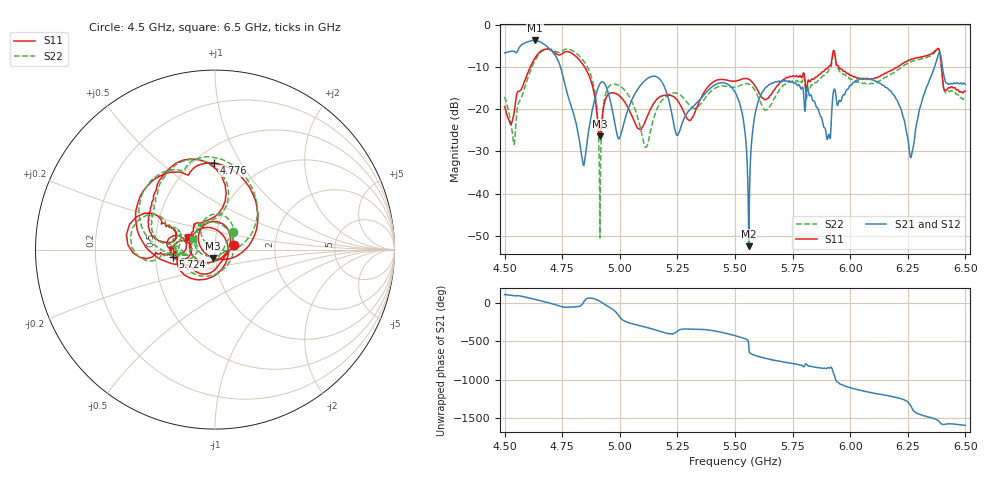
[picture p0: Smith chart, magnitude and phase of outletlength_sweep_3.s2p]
! TOUCHSTONE file generated by CST MICROWAVE STUDIO
! Date and time: Fri Nov 29 14:48:29 2024
! Project name: dual_circularly_polarized_waveguide_antenna.cst
! Parameters = {airCoaxOuterDiameter=3; chamferAngle=45; chamferWidth=24; connectorLength=10; drillingHoleDiameter=4.1; feedLength=60; flareDiameter=130; flareLength=70; gratingDistance=0; gratingGap=1.90274; outletLength=75; polarizerLength=134; probe1Diameter=1.3; probe1Distance=14.068; probe1Leng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
! Header version: 2018
! Port assignment regex: !\s*Touchstone port\s*([0-9]+)\s*=\s*(CST MWS port|CST DS port)\s*([0-9]+|Zmin|Zmax)\s*\(\"(.*)\"\)(\s*mode\s*([0-9]+))?.*
! Touchstone port assignment:
! Touchstone port 1 = CST MWS port 1 ("Input1")
! Touchstone port 2 = CST MWS port 2 ("Input2")
# GHz S MA R 50
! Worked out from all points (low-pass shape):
!   1001 points, 4.5 GHz to 6.5 GHz, reference 50 ohm
!   highest |S21| = -3.66 dB at 4.632 GHz (marker M1); lowest = -52.5 dB at 5.56 GHz (marker M2)
!   |S21| within 3 dB of the highest: start of sweep to 4.712 GHz; 6.38551 GHz to 6.389121 GHz (3.611 MHz wide, 0.0565 % of centre)
!   lowest |S11| = -26.4 dB at 4.912 GHz (marker M3), VSWR 1.10, Z = 48.5 - j4.49 ohm
!   |S11| at or under -10 dB: start of sweep to 4.611 GHz; 4.848 GHz to 5.906 GHz (1.058 GHz wide, 19.7 % of centre); 5.951 GHz to 6.203 GHz (252.4 MHz wide, 4.15 % of centre)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
!   |S22| runs from -50.6 to -5.6 dB; largest |S21 - S12| = 4.4e-06
!   S11 on the Smith chart (normalised r, x): 4.5 GHz: 1.23, +0.06; 4.776 GHz: 0.61, +0.77; 5.724 GHz: 0.62, -0.05; 6.5 GHz: 0.74, +0.11
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4.5  0.1075 13.5  0.467 107.5  0.467 107.5  0.1405 45.6
4.54  0.0866 -75.4  0.4873 92.6  0.4873 92.6  0.03804 -22.7
4.632  0.406 173.8  0.6561 45.3  0.6561 45.3  0.3802 169.9
4.776  0.4826 91.0  0.1408 -56.7  0.1408 -56.7  0.5187 94.1
4.834  0.359 51.6  0.02834 -28.1  0.02834 -28.1  0.4019 59.1
4.912  0.04794 -105.8  0.1971 22.7  0.1971 22.7  0.01344 -13.9
4.958  0.1552 102.8  0.1288 -63.7  0.1288 -63.7  0.1925 98.2
4.998  0.1444 67.9  0.04513 -177.2  0.04513 -177.2  0.1907 70.5
5.112  0.07373 -106.5  0.2232 44.2  0.2232 44.2  0.03542 -69.3
5.168  0.1366 -176.7  0.2356 -4.2  0.2356 -4.2  0.1096 172.2
5.25  0.1282 105.6  0.04898 -8.0  0.04898 -8.0  0.1549 96.2
5.5  0.2155 -168.7  0.1597 -65.2  0.1597 -65.2  0.1819 -169.4
5.56  0.2265 173.9  0.002371 141.6  0.002371 141.6  0.1986 170.9
5.606  0.1542 165.6  0.135 19.0  0.135 19.0  0.1295 157.5
5.724  0.2383 -170.3  0.2153 -54.7  0.2153 -54.7  0.2063 -168.8
5.834  0.2288 -176.4  0.1367 -109.9  0.1367 -109.9  0.1967 -175.6
5.904  0.3103 -175.6  0.04753 -120.8  0.04753 -120.8  0.2797 -173.4
5.932  0.475 157.4  0.174 124.2  0.174 124.2  0.4548 158.1
6.168  0.28 171.3  0.1696 -128.1  0.1696 -128.1  0.2516 172.9
6.264  0.3927 161.1  0.02698 98.2  0.02698 98.2  0.3685 162.8
6.382  0.5292 110.0  0.4439 -89.9  0.4439 -89.9  0.5244 110.3
6.5  0.1638 154.6  0.1974 -152.1  0.1974 -152.1  0.137 154.2
